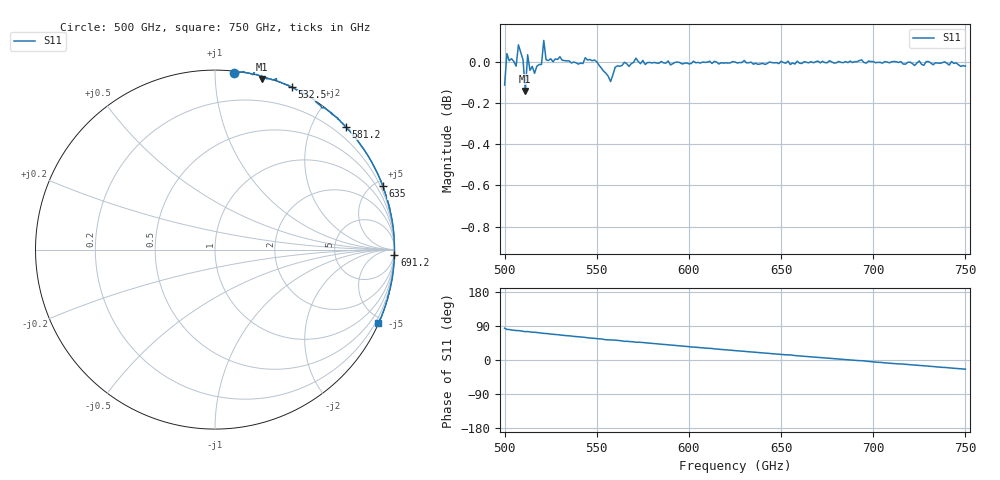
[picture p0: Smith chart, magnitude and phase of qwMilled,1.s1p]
!Created with mwavepy.
# GHz S RI R 50.0
!freq	ReS11	ImS11
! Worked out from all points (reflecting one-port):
!   201 points, 500 GHz to 750 GHz, reference 50 ohm
!   lowest |S11| = -0.1 dB at 511.2 GHz (marker M1), VSWR 123.98, Z = 1.1 + j65.5 ohm
!   phase of S11 starts at 84 deg and turns -108 deg over the sweep
!   S11 on the Smith chart (normalised r, x): 500 GHz: 0.01, +1.11; 532.5 GHz: -0.00, +1.58; 581.2 GHz: 0.00, +2.52; 635 GHz: 0.02, +5.45; 691.2 GHz: -1, -70; 750 GHz: 0.03, -4.67
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500  0.1057 0.9816
! Port Impedance 50.00000000000000 0.00000000000000
501.25  0.1611 0.9918
506.25  0.2127 0.9748
507.5  0.2161 0.9863
511.25  0.2597 0.9491
512.5  0.2585 0.9703
516.25  0.2852 0.9519
521.25  0.3415 0.9528
531.25  0.4192 0.909
532.5  0.4273 0.905
552.5  0.5622 0.8229
555  0.5918 0.7983
562.5  0.6247 0.7778
565  0.6544 0.756
566.25  0.648 0.7604
571.25  0.6862 0.7304
573.75  0.6854 0.7269
581.25  0.7278 0.6855
593.75  0.7887 0.6147
625  0.9075 0.4202
635  0.9337 0.3547
656.25  0.9752 0.2189
687.5  1.001 -0.00259
691.25  0.9998 -0.0287
693.75  1.001 -0.0312
702.5  0.9943 -0.1053
718.75  0.9778 -0.2088
750  0.9102 -0.4086
